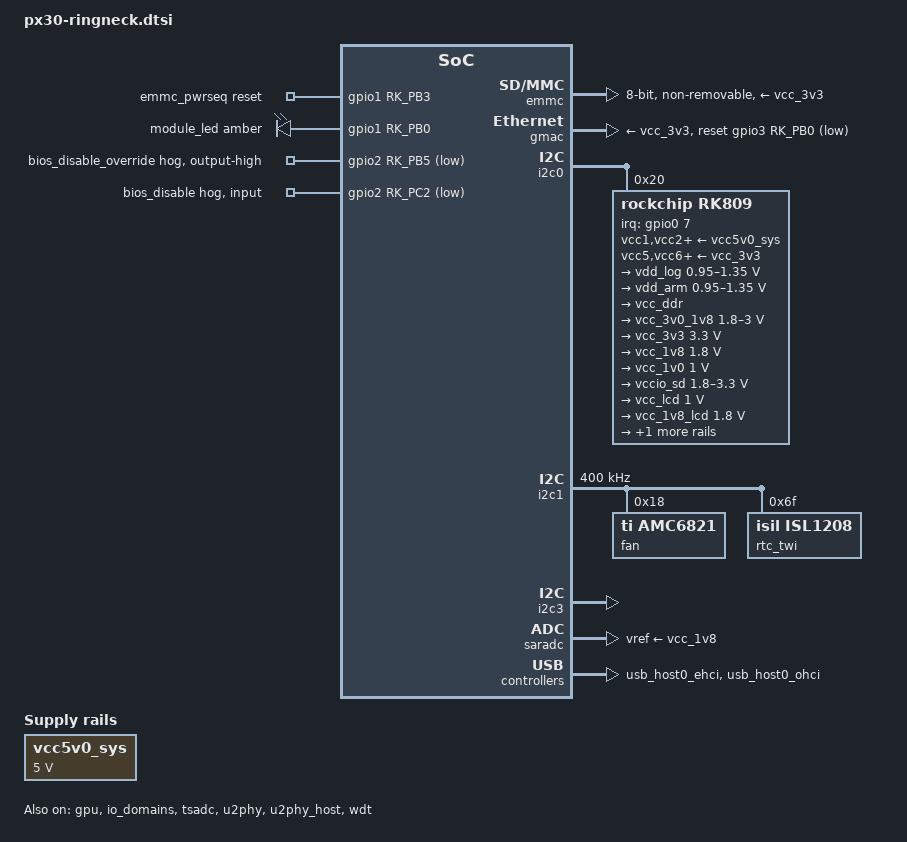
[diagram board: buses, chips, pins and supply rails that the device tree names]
// SPDX-License-Identifier: (GPL-2.0+ OR MIT)
/*
 * Copyright (c) 2022 Theobroma Systems Design und Consulting GmbH
 */

/dts-v1/;
#include "px30.dtsi"
#include <dt-bindings/leds/common.h>

/ {
	aliases {
		mmc0 = &emmc;
		mmc1 = &sdio;
		rtc0 = &rtc_twi;
		rtc1 = &rk809;
	};

	emmc_pwrseq: emmc-pwrseq {
		compatible = "mmc-pwrseq-emmc";
		pinctrl-0 = <&emmc_reset>;
		pinctrl-names = "default";
		reset-gpios = <&gpio1 RK_PB3 GPIO_ACTIVE_HIGH>;
	};

	leds {
		compatible = "gpio-leds";
		pinctrl-names = "default";
		pinctrl-0 = <&module_led_pin>;
		status = "okay";

		module_led: led-0 {
			gpios = <&gpio1 RK_PB0 GPIO_ACTIVE_HIGH>;
			function = LED_FUNCTION_HEARTBEAT;
			linux,default-trigger = "heartbeat";
			color = <LED_COLOR_ID_AMBER>;
		};
	};

	vcc5v0_sys: vccsys-regulator {
		compatible = "regulator-fixed";
		regulator-name = "vcc5v0_sys";
		regulator-always-on;
		regulator-boot-on;
		regulator-min-microvolt = <5000000>;
		regulator-max-microvolt = <5000000>;
	};
};

&cpu0 {
	cpu-supply = <&vdd_arm>;
};

&cpu1 {
	cpu-supply = <&vdd_arm>;
};

&cpu2 {
	cpu-supply = <&vdd_arm>;
};

&cpu3 {
	cpu-supply = <&vdd_arm>;
};

&emmc {
	bus-width = <8>;
	cap-mmc-highspeed;
	mmc-hs200-1_8v;
	supports-emmc;
	mmc-pwrseq = <&emmc_pwrseq>;
	non-removable;
	vmmc-supply = <&vcc_3v3>;
	vqmmc-supply = <&vcc_emmc>;

	status = "okay";
};

/* On-module TI DP83825I PHY but no connector, enable in carrierboard */
&gmac {
	snps,reset-gpio = <&gpio3 RK_PB0 GPIO_ACTIVE_LOW>;
	snps,reset-active-low;
	snps,reset-delays-us = <0 50000 50000>;
	phy-supply = <&vcc_3v3>;
	clock_in_out = "output";
};

&gpio2 {
	/*
	 * The Qseven BIOS_DISABLE signal on the PX30-µQ7 keeps the on-module
	 * eMMC powered-down initially (in fact it keeps the reset signal
	 * asserted). BIOS_DISABLE_OVERRIDE pin allows to re-enable eMMC after
	 * the SPL has been booted from SD Card.
	 */
	bios-disable-override-hog {
		gpios = <RK_PB5 GPIO_ACTIVE_LOW>;
		output-high;
		line-name = "bios_disable_override";
		gpio-hog;
	};

	/*
	 * The BIOS_DISABLE hog is a feedback pin for the actual status of the
	 * signal, ignoring the BIOS_DISABLE_OVERRIDE logic. This usually
	 * represents the state of a switch on the baseboard.
	 */
	bios-disable-n-hog {
		gpios = <RK_PC2 GPIO_ACTIVE_LOW>;
		line-name = "bios_disable";
		input;
		gpio-hog;
	};
};

&gpu {
	status = "okay";
};

&i2c0 {
	status = "okay";

	rk809: pmic@20 {
		compatible = "rockchip,rk809";
		reg = <0x20>;
		interrupt-parent = <&gpio0>;
		interrupts = <7 IRQ_TYPE_LEVEL_LOW>;
		pinctrl-0 = <&pmic_int>;
		pinctrl-names = "default";
		#clock-cells = <0>;
		clock-output-names = "xin32k";
		rockchip,system-power-controller;
		wakeup-source;

		vcc1-supply = <&vcc5v0_sys>;
		vcc2-supply = <&vcc5v0_sys>;
		vcc3-supply = <&vcc5v0_sys>;
		vcc4-supply = <&vcc5v0_sys>;
		vcc5-supply = <&vcc_3v3>;
		vcc6-supply = <&vcc_3v3>;
		vcc7-supply = <&vcc_3v3>;
		vcc9-supply = <&vcc5v0_sys>;

		regulators {
			vdd_log: DCDC_REG1 {
				regulator-name = "vdd_log";
				regulator-min-microvolt = <950000>;
				regulator-max-microvolt = <1350000>;
				regulator-ramp-delay = <6001>;
				regulator-always-on;
				regulator-boot-on;

				regulator-state-mem {
					regulator-on-in-suspend;
					regulator-suspend-microvolt = <950000>;
				};
			};

			vdd_arm: DCDC_REG2 {
				regulator-name = "vdd_arm";
				regulator-min-microvolt = <950000>;
				regulator-max-microvolt = <1350000>;
				regulator-ramp-delay = <6001>;
				regulator-always-on;
				regulator-boot-on;

				regulator-state-mem {
					regulator-off-in-suspend;
					regulator-suspend-microvolt = <950000>;
				};
			};

			vcc_ddr: DCDC_REG3 {
				regulator-name = "vcc_ddr";
				regulator-always-on;
				regulator-boot-on;

				regulator-state-mem {
					regulator-on-in-suspend;
				};
			};

			vcc_3v0_1v8: vcc_emmc: DCDC_REG4 {
				regulator-name = "vcc_3v0_1v8";
				regulator-min-microvolt = <1800000>;
				regulator-max-microvolt = <3000000>;
				regulator-always-on;
				regulator-boot-on;

				regulator-state-mem {
					regulator-on-in-suspend;
					regulator-suspend-microvolt = <3000000>;
				};
			};

			vcc_3v3: DCDC_REG5 {
				regulator-name = "vcc_3v3";
				regulator-min-microvolt = <3300000>;
				regulator-max-microvolt = <3300000>;
				regulator-always-on;
				regulator-boot-on;

				regulator-state-mem {
					regulator-on-in-suspend;
					regulator-suspend-microvolt = <3300000>;
				};
			};

			vcc_1v8: LDO_REG2 {
				regulator-name = "vcc_1v8";
				regulator-min-microvolt = <1800000>;
				regulator-max-microvolt = <1800000>;
				regulator-always-on;
				regulator-boot-on;

				regulator-state-mem {
					regulator-on-in-suspend;
					regulator-suspend-microvolt = <1800000>;
				};
			};

			vcc_1v0: LDO_REG3 {
				regulator-name = "vcc_1v0";
				regulator-min-microvolt = <1000000>;
				regulator-max-microvolt = <1000000>;
				regulator-always-on;
				regulator-boot-on;

				regulator-state-mem {
					regulator-on-in-suspend;
					regulator-suspend-microvolt = <1000000>;
				};
			};

			vccio_sd: LDO_REG5 {
				regulator-name = "vccio_sd";
				regulator-min-microvolt = <1800000>;
				regulator-max-microvolt = <3300000>;
				regulator-always-on;
				regulator-boot-on;

				regulator-state-mem {
					regulator-on-in-suspend;
					regulator-suspend-microvolt = <3300000>;
				};
			};

			vcc_lcd: LDO_REG7 {
				regulator-always-on;
				regulator-boot-on;
				regulator-min-microvolt = <1000000>;
				regulator-max-microvolt = <1000000>;
				regulator-name = "vcc_lcd";

				regulator-state-mem {
					regulator-off-in-suspend;
					regulator-suspend-microvolt = <1000000>;
				};
			};

			vcc_1v8_lcd: LDO_REG8 {
				regulator-name = "vcc_1v8_lcd";
				regulator-min-microvolt = <1800000>;
				regulator-max-microvolt = <1800000>;
				regulator-always-on;
				regulator-boot-on;

				regulator-state-mem {
					regulator-on-in-suspend;
					regulator-suspend-microvolt = <1800000>;
				};
			};

			vcca_1v8: LDO_REG9 {
				regulator-name = "vcca_1v8";
				regulator-min-microvolt = <1800000>;
				regulator-max-microvolt = <1800000>;
				regulator-always-on;
				regulator-boot-on;

				regulator-state-mem {
					regulator-off-in-suspend;
					regulator-suspend-microvolt = <1800000>;
				};
			};
		};
	};
};

&i2c1 {
	status = "okay";

	/* SE05x is limited to Fast Mode */
	clock-frequency = <400000>;

	fan: fan@18 {
		compatible = "ti,amc6821";
		reg = <0x18>;
		#cooling-cells = <2>;
	};

	rtc_twi: rtc@6f {
		compatible = "isil,isl1208";
		reg = <0x6f>;
	};
};

&i2c3 {
	status = "okay";
};

&i2s0_8ch {
	rockchip,trcm-sync-tx-only;

	pinctrl-0 = <&i2s0_8ch_sclktx &i2s0_8ch_lrcktx
		     &i2s0_8ch_sdo0 &i2s0_8ch_sdi0>;
};

&io_domains {
	vccio1-supply = <&vcc_3v3>;
	vccio2-supply = <&vccio_sd>;
	vccio3-supply = <&vcc_3v3>;
	vccio4-supply = <&vcc_3v3>;
	vccio5-supply = <&vcc_3v3>;
	vccio6-supply = <&vcc_emmc>;
	vccio-oscgpi-supply = <&vcc_3v3>;

	status = "okay";
};

&pinctrl {
	emmc {
		emmc_reset: emmc-reset {
			rockchip,pins = <1 RK_PB3 RK_FUNC_GPIO &pcfg_pull_none>;
		};
	};

	leds {
		module_led_pin: module-led-pin {
			rockchip,pins = <1 RK_PB0 RK_FUNC_GPIO &pcfg_pull_none>;
		};
	};

	pmic {
		pmic_int: pmic-int {
			rockchip,pins =
				<0 RK_PA7 RK_FUNC_GPIO &pcfg_pull_up>;
		};
	};
};

&saradc {
	vref-supply = <&vcc_1v8>;
	status = "okay";
};

&sdmmc {
	vqmmc-supply = <&vccio_sd>;
};

&tsadc {
	status = "okay";
};

&u2phy {
	status = "okay";
};

&u2phy_host {
	status = "okay";
};

/* Mule UCAN */
&usb_host0_ehci {
	status = "okay";
};

&usb_host0_ohci {
	status = "okay";
};

&wdt {
	status = "okay";
};
